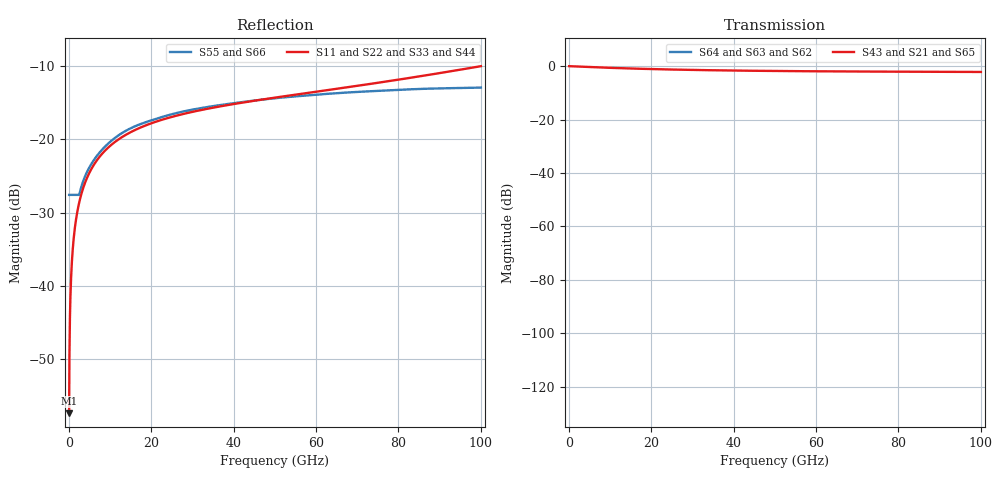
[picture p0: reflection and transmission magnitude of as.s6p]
! Created Wed Oct 23 14:20:12 2024
# hz S ma R 50
! 6 Port Network Data from SP1.SP block
! freq  magS11  angS11  magS12  angS12  magS13  angS13  magS14  angS14
!  magS15  angS15  magS16  angS16
!  magS21  angS21  magS22  angS22
!  magS23  angS23  magS24  angS24  magS25  angS25  magS26  angS26
!  magS31  angS31  magS32  angS32  magS33  angS33  magS34  angS34
!  magS35  angS35  magS36  angS36
!  magS41  angS41  magS42  angS42
!  magS43  angS43  magS44  angS44  magS45  angS45  magS46  angS46
!  magS51  angS51  magS52  angS52  magS53  angS53  magS54  angS54
!  magS55  angS55  magS56  angS56
!  magS61  angS61  magS62  angS62
!  magS63  angS63  magS64  angS64  magS65  angS65  magS66  angS66
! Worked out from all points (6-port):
!   2500 points, 40 MHz to 100 GHz, reference 50 ohm
!   strongest paths, dB at 40 MHz, 25.04 GHz, 50.04 GHz, 75.04 GHz, 100 GHz:
!     S43: 0.0, -1.3, -1.8, -2.0, -2.2
!     S21: 0.0, -1.3, -1.8, -2.0, -2.1
!     S65: -0.2, -1.3, -2.0, -2.3, -2.4
!     S64: -, -, -, -, -
!     S63: -, -, -, -, -
!     S62: -, -, -, -, -
!   lowest |S11| = -57.4 dB at 40 MHz (marker M1), VSWR 1.00, Z = 50 + j0.129 ohm
!   |S11| at or under -10 dB: start of sweep to 99.92 GHz
